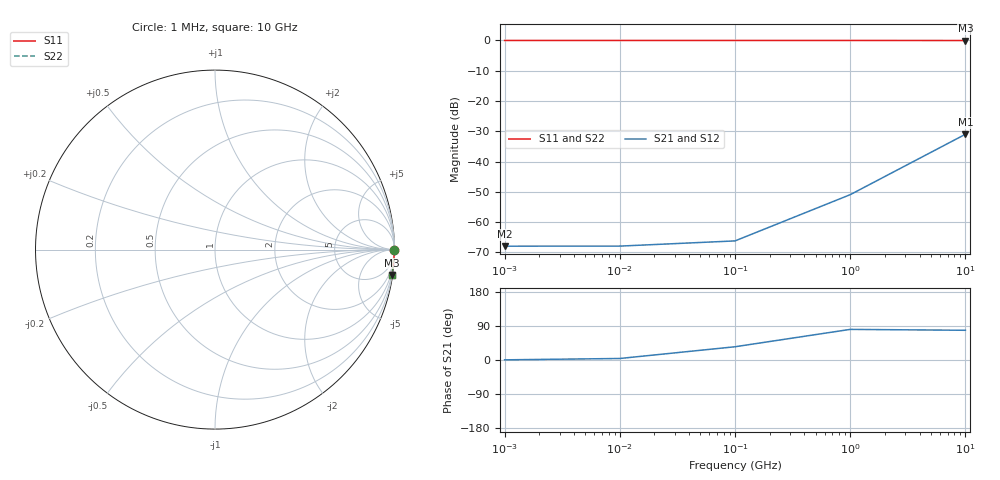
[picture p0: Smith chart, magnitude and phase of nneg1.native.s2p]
! Sonnet Data File
! From: em Version : 18.53-Lite
! From Project: nneg1
! Data is NOT De-embedded
! Data File Written: 10/12/2026 12:46:54
!< HDATE 10/12/2026 12:46:54
!< MDATE 10/12/2026 12:46:54
# GHZ S RI R 50.00000
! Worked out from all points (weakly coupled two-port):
!   5 points, 1 MHz to 10 GHz, reference 50 ohm
!   highest |S21| = -31.00 dB at 10 GHz (marker M1); lowest = -68.0 dB at 1 MHz (marker M2)
!   lowest |S11| = 0.0 dB at 10 GHz (marker M3), VSWR 726.58, Z = 13.6 - j702 ohm
!   |S11| at or under -10 dB: nowhere
!   |S22| runs from 0.0 to 0.0 dB; largest |S21 - S12| = 3.5e-13
0.001  0.9996 -1.42e-05  0.0004 2.8e-06  0.0004 2.8e-06  0.9996 -1.42e-05
0.01  0.9996 -0.000142  0.0004 2.8e-05  0.0004 2.8e-05  0.9996 -0.000142
0.1  0.9996 -0.00142  0.0004 0.00028  0.0004 0.00028  0.9996 -0.00142
1  0.9995 -0.0142  0.000454 0.0028  0.000454 0.0028  0.9995 -0.0142
10  0.9872 -0.1414  0.00566 0.0276  0.00566 0.0276  0.9872 -0.1414
